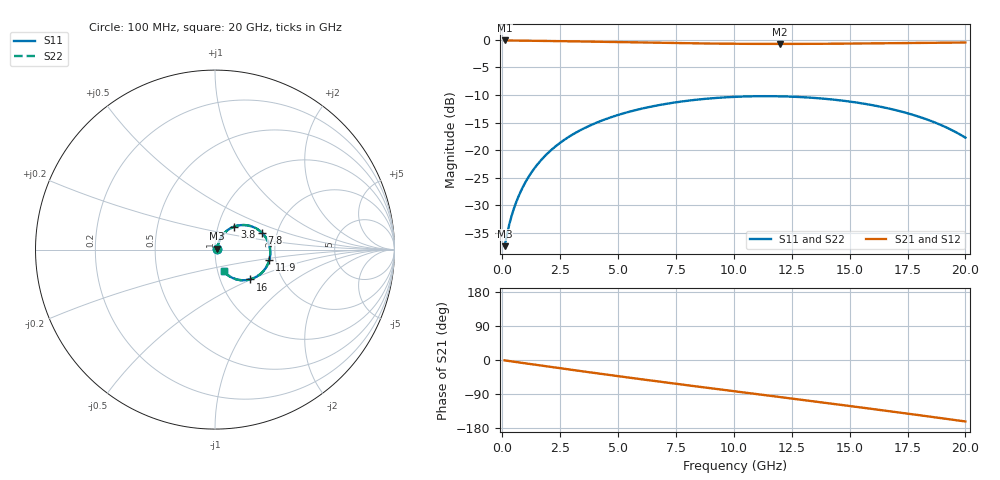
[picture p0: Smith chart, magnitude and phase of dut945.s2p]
! Touchstone file exported from HFSS 2026.1.0
!  File:  C:/ffzhzh/LocalFiles/Ansys_Project_Files/temp_train_TSV_RDL_945_1783282401_39728.aedt
!  Generated:  04:24:46 AM Jul  6, 2026
!  Design:  TSV_RDL
!  Project:  temp_train_TSV_RDL_945_1783282401_39728
! Variables:
!  h_bsmrdl = 3.39um
!  h_ox = 20um
!  h_rdl = 5um
!  h_sub = 98.03um
!  h_tmrdl = 4.24um
!  h_tsv = 98.03um
!  h_via = 3um
!  l_bsmrdl = 416.07um
!  l_sub = 2470.62um
!  l_tmrdl = 169.79um
!  m_sub = 200um
!  pitch = 34.56um
!  r_tsv = 5.47um
!  s_tmrdl = 10um
!  w_bsmrdl = 19.85um
!  w_sub = 500um
!  w_tmrdl = 27.9um
!  x_tsv_center1 = 183.74um
!  x_tsv_center2 = 619.66um
!  x_tsv_center3 = 817.35um
!  x_tsv_center4 = 1253.27um
!  x_tsv_center5 = 1450.96um
!  x_tsv_center6 = 1886.88um
# GHz S MA R 50.000000
! Terminal data exported
! Port[1] = TM_RDL1_1_T1
! Port[2] = TM_RDL5_1_T1
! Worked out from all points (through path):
!   200 points, 100 MHz to 20 GHz, reference 50 ohm
!   highest |S21| = -0.11 dB at 100 MHz (marker M1); lowest = -0.7 dB at 12 GHz (marker M2)
!   group delay of S21, straight-line fit = 22.2 ps
!   lowest |S11| = -37.4 dB at 100 MHz (marker M3), VSWR 1.03, Z = 51.2 + j0.581 ohm
!   |S11| at or under -10 dB: start of sweep to end of sweep
!   |S22| runs from -37.4 to -10.2 dB; largest |S21 - S12| = 1.7e-14
!   S11 on the Smith chart (normalised r, x): 100 MHz: 1.02, +0.01; 3.8 GHz: 1.20, +0.32; 7.8 GHz: 1.66, +0.34; 11.9 GHz: 1.85, -0.23; 16 GHz: 1.38, -0.49; 20 GHz: 1.07, -0.26
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0.1  0.01352 24.8  0.9878 -0.9  0.9878 -0.9  0.01352 24.8
! Gamma 0 0 0 0
! Port Impedance 50 0 50 0
0.3  0.02122 47.4  0.9863 -2.8  0.9863 -2.8  0.02122 47.4
0.5  0.02957 55.9  0.9848 -4.5  0.9848 -4.5  0.02957 55.9
0.8  0.04251 61.6  0.9833 -7.1  0.9833 -7.1  0.04251 61.6
1.2  0.06026 63.8  0.9815 -10.6  0.9815 -10.6  0.06026 63.8
1.7  0.0825 63.1  0.979 -14.9  0.979 -14.9  0.0825 63.1
2.2  0.1042 60.7  0.976 -19.2  0.976 -19.2  0.1042 60.7
2.8  0.1293 57.0  0.9718 -24.3  0.9718 -24.3  0.1293 57.0
3.5  0.1568 52.1  0.9664 -30.2  0.9664 -30.2  0.1568 52.1
3.8  0.168 49.9  0.9639 -32.7  0.9639 -32.7  0.168 49.9
5.2  0.2149 39.5  0.952 -44.3  0.952 -44.3  0.2149 39.5
6.8  0.2573 27.4  0.9392 -57.2  0.9392 -57.2  0.2573 27.4
7.8  0.2774 19.9  0.9323 -65.1  0.9323 -65.1  0.2774 19.9
10.1  0.305 2.8  0.9217 -83.1  0.9217 -83.1  0.305 2.8
11.9  0.3083 -10.4  0.919 -97.1  0.919 -97.1  0.3083 -10.4
12  0.308 -11.1  0.919 -97.8  0.919 -97.8  0.308 -11.2
13.4  0.2987 -21.4  0.9205 -108.7  0.9205 -108.7  0.2987 -21.4
14.7  0.2814 -30.9  0.9241 -119.0  0.9241 -119.0  0.2814 -31.0
16  0.2558 -40.5  0.9293 -129.3  0.9293 -129.3  0.2558 -40.5
16.7  0.2387 -45.6  0.9325 -135.0  0.9325 -135.0  0.2387 -45.7
18.5  0.1847 -58.4  0.9409 -149.7  0.9409 -149.7  0.1847 -58.5
20  0.1301 -68.0  0.9466 -162.2  0.9466 -162.2  0.13 -68.1
